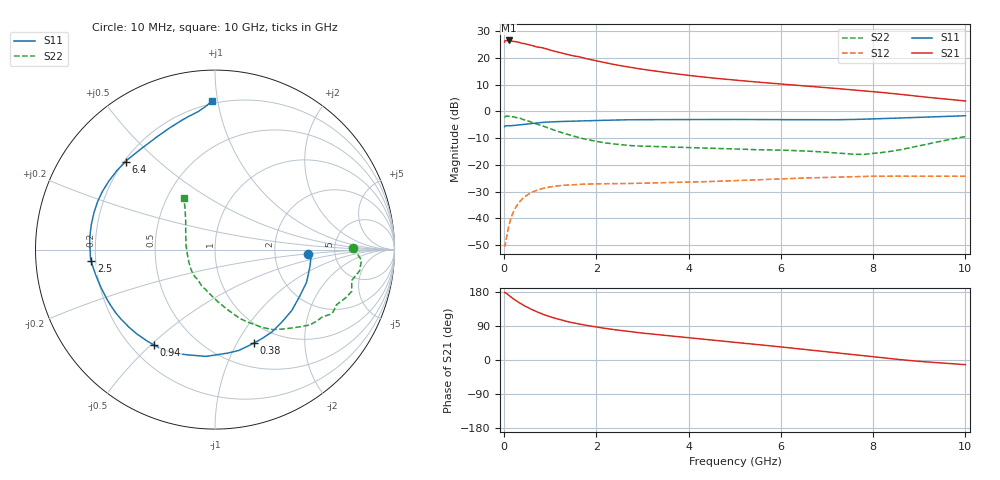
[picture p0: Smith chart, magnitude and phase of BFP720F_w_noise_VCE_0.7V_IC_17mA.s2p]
! Infineon Technologies  Discrete & RF Semiconductors
! BFP720F
! VCE =  0.7 V,  IC =  17 mA
! Common Emitter S-Parameters:  Jan 2016
# GHz  S  MA  R  50
!  f  S11  S21  S12  S22
! GHz  MAG  ANG  MAG  ANG  MAG  ANG  MAG  ANG
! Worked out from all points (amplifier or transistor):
!   233 points, 10 MHz to 10 GHz, reference 50 ohm
!   highest |S21| = 26.6 dB at 100 MHz (marker M1)
!   |S21| within 3 dB of that: start of sweep to 889.1 MHz
!   unconditionally stable (mu >= 1): start of sweep to 93.58 MHz; 3.726 GHz to end of sweep
!   at 200 MHz: K = 0.53, MSG = 32.0 dB, |S12| = -37.7 dB
!   at 1.74 GHz: K = 0.60, MSG = 23.6 dB, |S12| = -27.3 dB
!   at 10 GHz: K = 1.69, MAG = 9.3 dB, |S12| = -24.3 dB
!   lowest NFmin = 0.77 dB at 450 MHz
!   S11 on the Smith chart (normalised r, x): 10 MHz: 3.14, -0.23; 380 MHz: 0.77, -1.18; 940 MHz: 0.29, -0.51; 2.5 GHz: 0.18, -0.04; 6.4 GHz: 0.21, +0.39; 10 GHz: 0.18, +0.96
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0.01  0.5187 -2.9  19.91 178.2  0.0032 5.8  0.7692 0.7
0.02  0.5369 -3.5  21.04 178.0  0.003 30.3  0.7964 -2.0
0.1  0.5418 -19.6  21.28 170.7  0.0071 61.1  0.8147 -8.3
0.2  0.5461 -38.4  20.52 161.3  0.013 64.2  0.7961 -17.1
0.3  0.5578 -55.3  19.85 153.1  0.0185 59.5  0.743 -24.5
0.38  0.5637 -67.5  18.94 147.5  0.0224 56.5  0.7219 -30.6
0.45  0.5775 -76.9  18.51 142.1  0.0253 53.3  0.6932 -35.0
0.6  0.5969 -94.7  17.23 133.1  0.0307 46.6  0.6216 -44.4
0.7  0.6061 -104.7  16.12 127.6  0.0334 42.8  0.5809 -49.7
0.8  0.6209 -111.7  15.78 122.7  0.0354 39.6  0.5496 -54.2
0.94  0.6302 -122.5  14.59 116.4  0.0378 35.3  0.4942 -59.9
1.1  0.6406 -132.8  13.29 110.3  0.0398 31.2  0.441 -65.9
1.3  0.6507 -143.2  12.04 103.6  0.0414 27.2  0.3886 -72.2
1.68  0.6638 -157.1  10.22 93.8  0.0432 21.9  0.3132 -82.5
2  0.6754 -165.7  8.852 87.0  0.044 18.9  0.2739 -90.1
2.5  0.6925 -174.7  7.245 78.4  0.0446 16.1  0.2399 -99.6
3.4  0.7021 169.9  5.493 66.0  0.046 14.4  0.2185 -108.8
5.1  0.7051 151.5  3.788 45.6  0.0509 12.9  0.1968 -117.7
6.4  0.6988 135.5  3.065 29.4  0.0562 9.9  0.1837 -130.8
6.8  0.6958 129.5  2.871 24.2  0.0576 8.6  0.1758 -137.7
8.4  0.7443 104.3  2.17 3.3  0.0614 1.7  0.1798 155.1
10  0.8293 91.2  1.566 -12.3  0.0611 -2.3  0.3378 120.9
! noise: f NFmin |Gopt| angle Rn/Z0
0.45  0.77  0.21  1  0.52
0.9  0.79  0.11  0  0.14
1.8  0.82  0.08  -6  0.16
2.4  0.83  0.08  -13  0.14
5.5  0.98  0.08  -18  0.1
10  1.15  0.35  -83  0.22
